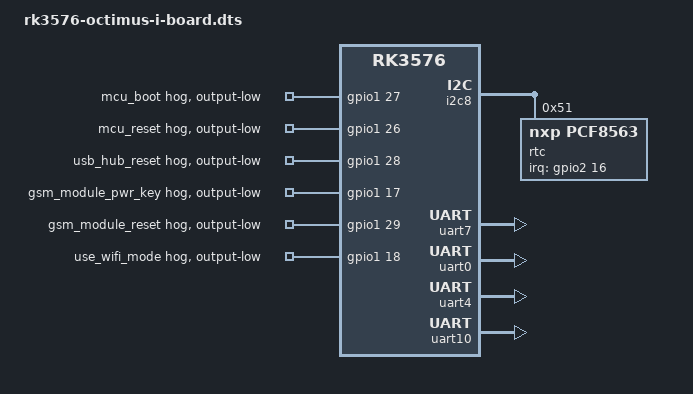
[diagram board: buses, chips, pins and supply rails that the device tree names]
/dts-v1/;
/plugin/;

/{
    compatible = "rockchip,rk3576";

    fragment@0 {
        target = <&gpio1>;
        __overlay__ {
            mcu_boot: mcu_boot {
                gpio-hog;

                // GPIO1_D3
                gpios = <27 0>;
                output-low;
                line-name = "mcu_boot";
            };

            mcu_reset: mcu_reset {
                gpio-hog;

                // GPIO1_D2
                gpios = <26 0>;
                output-low;
                line-name = "mcu_reset";
            };

            usb_hub_reset: usb_hub_reset {
                gpio-hog;

                // GPIO1_D4
                gpios = <28 0>;
                output-low;
                line-name = "usb_hub_reset";
            };

            gsm_module_pwr_key: gsm_module_pwr_key {
                gpio-hog;

                // GPIO1_C1
                gpios = <17 0>;
                output-low;
                line-name = "gsm_module_pwr_key";
            };

            gsm_module_reset: gsm_module_reset {
                gpio-hog;

                // GPIO1_D5
                gpios = <29 0>;
                output-low;
                line-name = "gsm_module_reset";
            };

            use_wifi_mode: use_wifi_mode {
                gpio-hog;

                // GPIO1_C2
                gpios = <18 0>;
                output-low;
                line-name = "use_wifi_mode";
            };

        };
    };

    // Main I2C bus for OCTIMUS-I board
    fragment@1 {
                target = <&i2c8>;

                __overlay__ {
                        status = "okay";
                        pinctrl-names = "default";
                        pinctrl-0 = <&i2c8m1_xfer>;
                };
        };


    // GSM module main UART, RS-485
    fragment@2 {
                target = <&uart7>;

                __overlay__ {
                        status = "okay";
                        pinctrl-0 = <&uart7m0_xfer>;
                };
        };

    // DB9 RS-232 main communication UART
    fragment@3 {
                target = <&uart0>;

                __overlay__ {
                        status = "okay";
                        pinctrl-0 = <&uart0m0_xfer>;
                };
        };

    // DB9 RS-232 AUX1 communication UART
    fragment@4 {
                target = <&uart4>;

                __overlay__ {
                        status = "okay";
                        pinctrl-0 = <&uart4m1_xfer>;
                };
        };

    // DB9 RS-232 AUX2 communication UART
    fragment@5 {
                target = <&uart10>;

                __overlay__ {
                        status = "okay";
                        pinctrl-0 = <&uart10m1_xfer>;
                };
        };

    // Disable OLD RTC
    fragment@6 {
                target = <&hym8563>;
                __overlay__ {
                        status = "disabled";
                };
        };

    // New RTC at I2C8
    fragment@7 {
        target = <&i2c8>;
	__overlay__ {
            status = "okay";

            rtc@51 {
                compatible = "nxp,pcf8563";
                reg = <0x51>;
                status = "okay";
 
		// NEW interrupt settings
                interrupt-parent = <&gpio2>;
                interrupts = <16 8>;
                pinctrl-names = "default";
                pinctrl-0 = <&rtc_int>;
		wakeup-source;
            };
        };
    };

    // Override RTC pinctrl
    fragment@8 {
        target = <&pinctrl>;
        __overlay__ {
            rtc {
                rtc_int: rtc-int {
                    rockchip,pins = <
                        2 16 0 &pcfg_pull_up
                    >;
                };
            };
        };
    };

};
